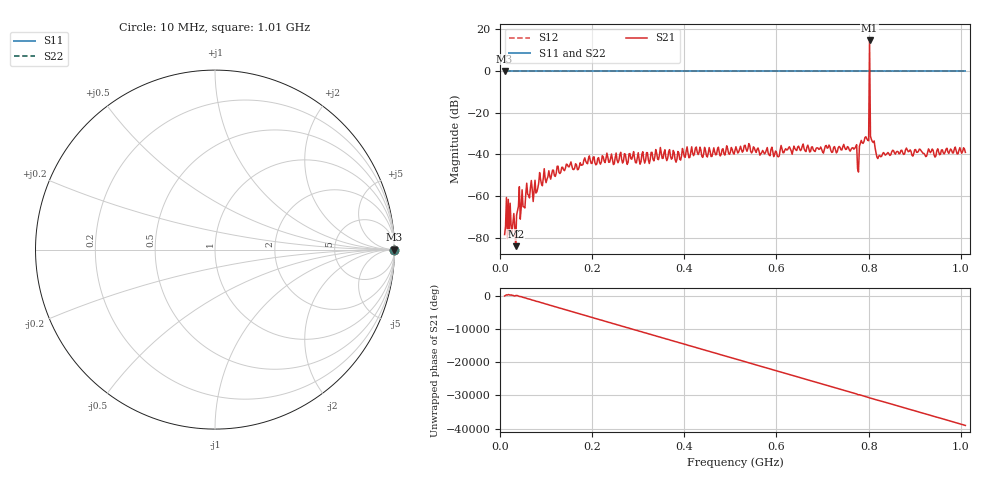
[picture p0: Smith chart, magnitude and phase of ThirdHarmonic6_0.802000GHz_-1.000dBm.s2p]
! 8/16/2025 2:44:42 AM
! C:\ANRITSUVNA\TEMP\TEMP.S2P
! CHANNEL.1
! TR.MEASUREMENT
! RAW.DATA
! RF.CORRECTION.OFF
! AVERAGING.OFF
! IF.BANDWIDTH: 5KHZ
! SWEEPTYPE:  FREQ.SWEEP(Linear)
! Reference Plane Port Info
! PORT:  PORT1  PORT2
! DISTANCE:  0  m  0  m
! TIME:  0  s  0  s
! PHASE.OFFSET:  0  deg.  0  deg.
! LOSS:  0  dB  0  dB
! REF.LOSS:  0  dB  0  dB
! REF.FREQ:  0  Hz  0  Hz
! Power Info
! POWER:  -20  dBm  -20  dBm
! EFF.POWER:  -20  dBm  -20  dBm
! SOURCE.ATTEN:  0  dB  0  dB
! TEST.ATTEN:  0  dB  0  dB
# GHZ S RI R 50.0
! FREQ.GHZ  S11RE  S11IM  S21RE  S21IM  S12RE  S12IM  S22RE  S22IM
!; PortSelection: Port_12
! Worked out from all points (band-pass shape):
!   501 points, 10 MHz to 1.01 GHz, reference 50 ohm
!   highest |S21| = 14.64 dB at 802 MHz (marker M1); lowest = -83.9 dB at 34 MHz (marker M2)
!   |S21| within 3 dB of the highest: 801.8752 MHz to 802.1308 MHz (255.6 kHz wide, 0.0319 % of centre)
!   lowest |S11| = 0.0 dB at 10 MHz (marker M3)
!   |S11| at or under -10 dB: nowhere
!   |S22| runs from 0.0 to 0.0 dB; largest |S21 - S12| = 6.4
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0.01  1 0  0.000111 4.83e-05  1 0  1 0
0.018  1 0  -9.93e-05 0.000834  1 0  1 0
0.03  1 0  -5.59e-05 0.000381  1 0  1 0
0.034  1 0  -5.96e-05 2.24e-05  1 0  1 0
0.044  1 0  -0.000271 -7.94e-05  1 0  1 0
0.048  1 0  0.000622 0.00128  1 0  1 0
0.06  1 0  8.58e-05 -0.00111  1 0  1 0
0.086  1 0  0.0029 -0.00228  1 0  1 0
0.178  1 0  -0.00552 -0.000682  1 0  1 0
0.344  1 0  0.00706 -0.00264  1 0  1 0
0.51  1 0  -0.011 0.00593  1 0  1 0
0.678  1 0  -0.0124 -0.00888  1 0  1 0
0.77  1 0  -0.00838 0.0114  1 0  1 0
0.774  1 0  0.0132 -0.011  1 0  1 0
0.796  1 0  -0.0166 0.0171  1 0  1 0
0.798  1 0  0.0131 0.0177  1 0  1 0
0.802  1 0  -5.359 -0.6088  1 0  1 0
0.806  1 0  0.0082 0.0215  1 0  1 0
0.808  1 0  0.0198 -0.00532  1 0  1 0
0.822  1 0  -0.00868 0.00291  1 0  1 0
0.844  1 0  0.0103 0.00129  1 0  1 0
1.01  1 0  -0.0112 0.000738  1 0  1 0
